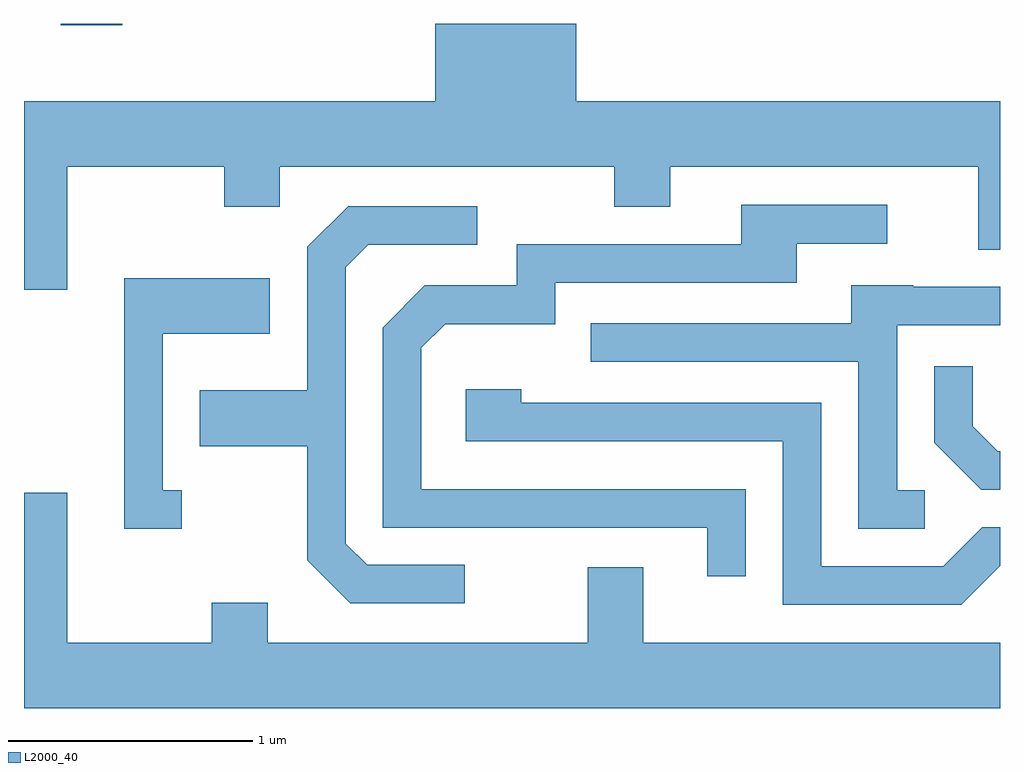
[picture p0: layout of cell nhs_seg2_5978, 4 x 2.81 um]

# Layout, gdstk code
import gdstk
lib = gdstk.Library(unit=1e-6, precision=1e-09)
def R(c, l, rs):  # rectangles x0, y0, x1, y1
    for r in rs: c.add(gdstk.rectangle(r[:2], r[2:], *l))
def P(c, l, *ps):  # polygons
    for p in ps: c.add(gdstk.Polygon(p, *l))
L2000_40 = (2000, 40)

nhs_seg2_5978 = lib.new_cell('nhs_seg2_5978')
R(nhs_seg2_5978, L2000_40, [(361.761,1037.796,362.014,1037.802)])
P(nhs_seg2_5978, L2000_40, [(361.789,1037.216),(362.431,1037.216),(362.431,1037.051),(362.659,1037.051),(362.659,1037.216),(364.031,1037.216),(364.031,1037.051),(364.259,1037.051),(364.259,1037.216),(365.521,1037.216),(365.521,1036.876),(365.611,1036.876),(365.611,1037.484),(363.874,1037.484),(363.874,1037.802),(363.296,1037.802),(363.296,1037.484),(361.611,1037.484),(361.611,1036.711),(361.789,1036.711)],
  [(364.569,1035.894),(363.239,1035.894),(363.239,1036.474),(363.337,1036.571),(363.789,1036.571),(363.789,1036.741),(364.779,1036.741),(364.779,1036.901),(365.148,1036.901),(365.148,1037.059),(364.551,1037.059),(364.551,1036.899),(363.631,1036.899),(363.631,1036.729),(363.254,1036.729),(363.081,1036.556),(363.081,1035.736),(364.411,1035.736),(364.411,1035.537),(364.569,1035.537)],
  [(363.418,1035.584),(363.017,1035.584),(362.929,1035.671),(362.929,1036.804),(363.022,1036.896),(363.468,1036.896),(363.468,1037.054),(362.939,1037.054),(362.771,1036.887),(362.771,1036.299),(362.331,1036.299),(362.331,1036.071),(362.771,1036.071),(362.771,1035.603),(362.949,1035.426),(363.418,1035.426)],
  [(362.258,1035.889),(362.179,1035.889),(362.179,1036.531),(362.619,1036.531),(362.619,1036.759),(362.021,1036.759),(362.021,1035.731),(362.258,1035.731)],
  [(365.303,1035.889),(365.189,1035.889),(365.189,1036.566),(365.611,1036.566),(365.611,1036.724),(365.255,1036.724),(365.255,1036.729),(365.001,1036.729),(365.001,1036.574),(363.933,1036.574),(363.933,1036.416),(365.031,1036.416),(365.031,1035.731),(365.303,1035.731)],
  [(365.611,1036.049),(365.602,1036.049),(365.499,1036.152),(365.499,1036.398),(365.341,1036.398),(365.341,1036.084),(365.534,1035.891),(365.611,1035.891)],
  [(365.611,1035.58),(365.611,1035.739),(365.539,1035.739),(365.379,1035.579),(364.879,1035.579),(364.879,1036.249),(363.649,1036.249),(363.649,1036.304),(363.421,1036.304),(363.421,1036.091),(364.721,1036.091),(364.721,1035.421),(365.452,1035.421)],
  [(365.611,1035.264),(364.149,1035.264),(364.149,1035.574),(363.921,1035.574),(363.921,1035.264),(362.609,1035.264),(362.609,1035.429),(362.381,1035.429),(362.381,1035.264),(361.789,1035.264),(361.789,1035.879),(361.611,1035.879),(361.611,1034.996),(365.611,1034.996)])

lib.write_gds('nhs_seg2_5978.gds')
